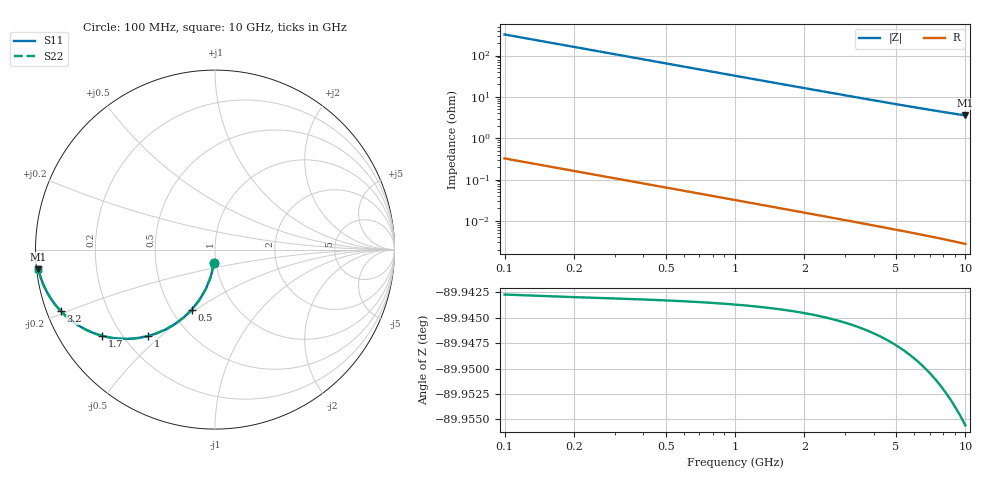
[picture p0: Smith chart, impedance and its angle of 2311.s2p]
# Hz S RI R 50.00
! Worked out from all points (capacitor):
!   100 points, 100 MHz to 10 GHz, reference 50 ohm
!   read as one part in shunt: C = 4.9 pF near 100 MHz
!   lowest |Z| = 3.57 ohm at 10 GHz (marker M1)
!   S11 on the Smith chart (normalised r, x): 100 MHz: 0.98, -0.15; 500 MHz: 0.63, -0.48; 1 GHz: 0.30, -0.46; 1.7 GHz: 0.13, -0.33; 3.2 GHz: 0.04, -0.19; 10 GHz: 0.01, -0.06
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1e8  -0.00595 -0.0764  0.994 -0.0767  0.994 -0.0767  -0.00595 -0.0764
2e8  -0.0233 -0.1502  0.9766 -0.1507  0.9766 -0.1507  -0.0233 -0.1502
3e8  -0.0509 -0.2188  0.9491 -0.2197  0.9491 -0.2197  -0.0509 -0.2188
4e8  -0.0869 -0.2806  0.9131 -0.2818  0.9131 -0.2818  -0.0869 -0.2806
5e8  -0.1293 -0.3344  0.8706 -0.3358  0.8706 -0.3358  -0.1293 -0.3344
6e8  -0.1761 -0.3796  0.8238 -0.3813  0.8238 -0.3813  -0.1761 -0.3796
7e8  -0.2253 -0.4163  0.7747 -0.4183  0.7747 -0.4183  -0.2253 -0.4163
8e8  -0.2751 -0.4449  0.7248 -0.4473  0.7248 -0.4473  -0.2751 -0.4449
1e9  -0.372 -0.4814  0.6279 -0.4843  0.6279 -0.4843  -0.372 -0.4814
1.3e9  -0.4999 -0.4976  0.5 -0.5014  0.5 -0.5014  -0.4999 -0.4976
1.7e9  -0.6305 -0.4797  0.3694 -0.4846  0.3694 -0.4846  -0.6305 -0.4797
1.8e9  -0.6567 -0.4717  0.3433 -0.4769  0.3433 -0.4769  -0.6567 -0.4717
2.1e9  -0.7223 -0.4443  0.2777 -0.4504  0.2777 -0.4504  -0.7223 -0.4443
2.4e9  -0.7724 -0.4152  0.2275 -0.4223  0.2275 -0.4223  -0.7724 -0.4152
2.8e9  -0.8219 -0.3779  0.178 -0.3862  0.178 -0.3862  -0.8219 -0.3779
3.2e9  -0.8576 -0.3442  0.1423 -0.3536  0.1423 -0.3536  -0.8576 -0.3442
3.4e9  -0.8718 -0.3288  0.1281 -0.3388  0.1281 -0.3388  -0.8718 -0.3288
4.2e9  -0.9121 -0.2763  0.0878 -0.2888  0.0878 -0.2888  -0.9121 -0.2763
5.1e9  -0.9387 -0.2315  0.0611 -0.2469  0.0611 -0.2469  -0.9387 -0.2315
6.7e9  -0.9637 -0.1759  0.036 -0.1963  0.036 -0.1963  -0.9637 -0.1759
8.4e9  -0.9768 -0.1362  0.0228 -0.1623  0.0228 -0.1623  -0.9768 -0.1362
1e10  -0.9837 -0.1092  0.0157 -0.1408  0.0157 -0.1408  -0.9837 -0.1092
